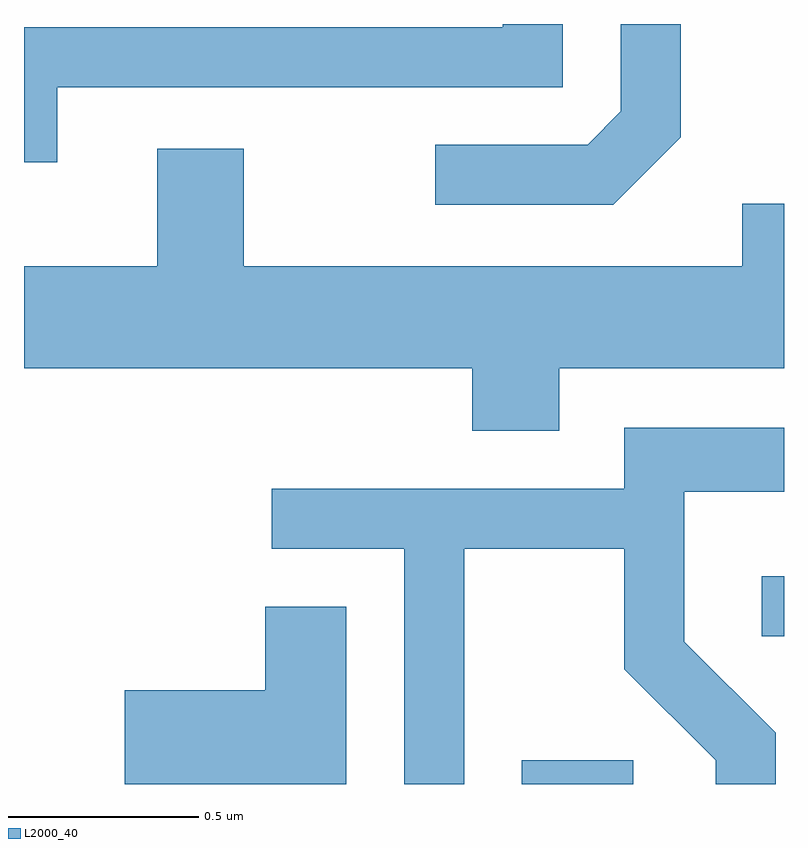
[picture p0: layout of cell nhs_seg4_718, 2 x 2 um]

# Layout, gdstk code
import gdstk
lib = gdstk.Library(unit=1e-6, precision=1e-09)
def R(c, l, rs):  # rectangles x0, y0, x1, y1
    for r in rs: c.add(gdstk.rectangle(r[:2], r[2:], *l))
def P(c, l, *ps):  # polygons
    for p in ps: c.add(gdstk.Polygon(p, *l))
L2000_40 = (2000, 40)

nhs_seg4_718 = lib.new_cell('nhs_seg4_718')
R(nhs_seg4_718, L2000_40, [(191.921,1286.982,192.214,1287.044), (192.553,1287.371,192.611,1287.529)])
P(nhs_seg4_718, L2000_40, [(192.339,1288.684),(192.339,1288.982),(192.181,1288.982),(192.181,1288.752),(192.094,1288.664),(191.693,1288.664),(191.693,1288.506),(192.162,1288.506)],
  [(190.699,1288.816),(192.029,1288.816),(192.029,1288.982),(191.871,1288.982),(191.871,1288.974),(190.611,1288.974),(190.611,1288.618),(190.699,1288.618)],
  [(192.019,1288.076),(192.611,1288.076),(192.611,1288.509),(192.501,1288.509),(192.501,1288.344),(191.189,1288.344),(191.189,1288.654),(190.961,1288.654),(190.961,1288.344),(190.611,1288.344),(190.611,1288.076),(191.791,1288.076),(191.791,1287.911),(192.019,1287.911)],
  [(191.769,1287.601),(192.191,1287.601),(192.191,1287.284),(192.431,1287.044),(192.431,1286.982),(192.589,1286.982),(192.589,1287.117),(192.349,1287.357),(192.349,1287.751),(192.611,1287.751),(192.611,1287.919),(192.191,1287.919),(192.191,1287.759),(191.263,1287.759),(191.263,1287.601),(191.611,1287.601),(191.611,1286.982),(191.769,1286.982)],
  [(191.459,1287.449),(191.246,1287.449),(191.246,1287.229),(190.876,1287.229),(190.876,1286.982),(191.459,1286.982)])

lib.write_gds('nhs_seg4_718.gds')
